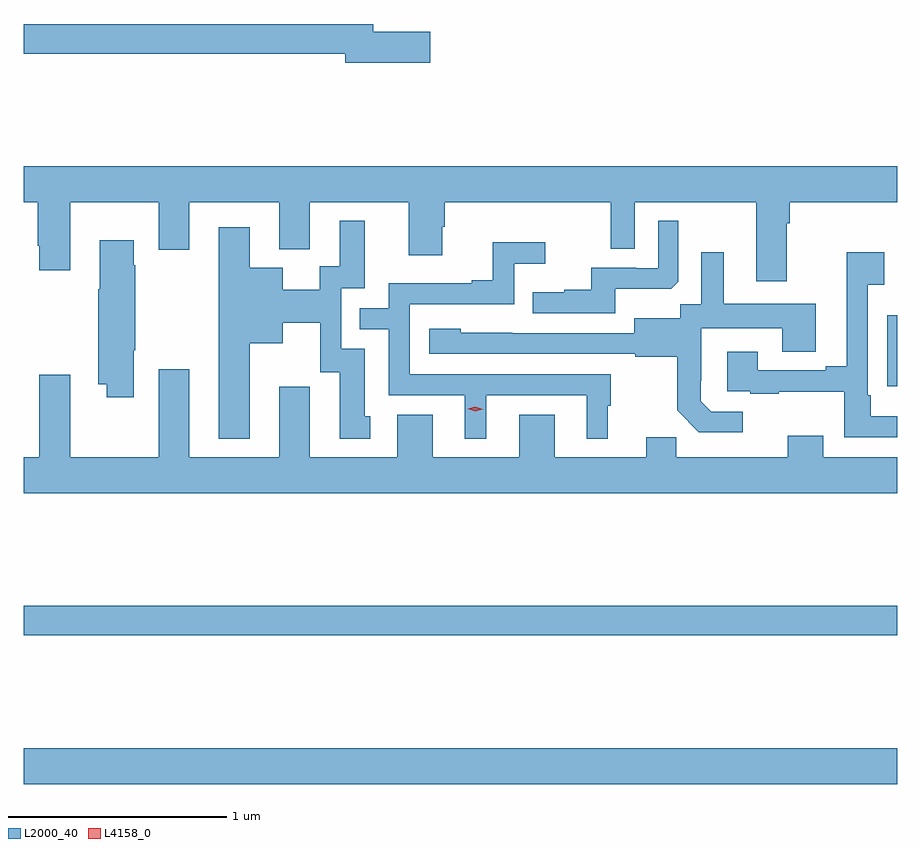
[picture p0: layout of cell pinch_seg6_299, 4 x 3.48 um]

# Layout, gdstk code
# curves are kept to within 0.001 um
import gdstk
lib = gdstk.Library(unit=1e-6, precision=1e-09)
def R(c, l, rs):  # rectangles x0, y0, x1, y1
    for r in rs: c.add(gdstk.rectangle(r[:2], r[2:], *l))
def P(c, l, *ps):  # polygons
    for p in ps: c.add(gdstk.Polygon(p, *l))
L2000_40 = (2000, 40)
L4158_0 = (4158, 0)

pinch_seg6_299 = lib.new_cell('pinch_seg6_299')
R(pinch_seg6_299, L2000_40, [(672.473,955.328,676.473,955.492), (672.473,956.008,676.473,956.144), (676.428,957.149,676.473,957.475)])
P(pinch_seg6_299, L2000_40, [(674.335,958.772),(674.074,958.772),(674.074,958.808),(672.473,958.808),(672.473,958.672),(673.946,958.672),(673.946,958.63),(674.335,958.63)],
  [(672.473,957.992),(672.538,957.992),(672.538,957.793),(672.545,957.793),(672.545,957.681),(672.685,957.681),(672.685,957.992),(673.091,957.992),(673.091,957.774),(673.231,957.774),(673.231,957.992),(673.643,957.992),(673.643,957.776),(673.783,957.776),(673.783,957.992),(674.237,957.992),(674.237,957.75),(674.389,957.75),(674.389,957.879),(674.402,957.879),(674.402,957.992),(675.162,957.992),(675.162,957.778),(675.27,957.778),(675.27,957.992),(675.827,957.992),(675.827,957.63),(675.967,957.63),(675.967,957.896),(675.98,957.896),(675.98,957.992),(676.473,957.992),(676.473,958.156),(672.473,958.156)],
  [(673.507,957.347),(673.66,957.347),(673.66,957.44),(673.83,957.44),(673.83,957.213),(673.919,957.213),(673.919,956.91),(674.059,956.91),(674.059,957.012),(674.035,957.012),(674.035,957.321),(673.926,957.321),(673.926,957.597),(674.035,957.597),(674.035,957.907),(673.919,957.907),(673.919,957.698),(673.829,957.698),(673.829,957.592),(673.66,957.592),(673.66,957.691),(673.507,957.691),(673.507,957.877),(673.367,957.877),(673.367,956.909),(673.507,956.909)],
  [(675.181,957.596),(675.439,957.596),(675.471,957.627),(675.471,957.907),(675.378,957.907),(675.378,957.69),(675.278,957.69),(675.278,957.693),(675.071,957.693),(675.071,957.592),(674.947,957.592),(674.947,957.58),(674.803,957.58),(674.803,957.483),(675.181,957.483)],
  [(672.976,957.313),(672.984,957.313),(672.984,957.704),(672.976,957.704),(672.976,957.817),(672.821,957.817),(672.821,957.593),(672.814,957.593),(672.814,957.158),(672.854,957.158),(672.854,957.099),(672.976,957.099)],
  [(674.59,957.108),(675.05,957.108),(675.05,956.909),(675.148,956.909),(675.148,957.06),(675.16,957.06),(675.16,957.204),(674.241,957.204),(674.241,957.525),(674.718,957.525),(674.718,957.71),(674.86,957.71),(674.86,957.809),(674.62,957.809),(674.62,957.634),(674.525,957.634),(674.525,957.621),(674.145,957.621),(674.145,957.507),(674.011,957.507),(674.011,957.411),(674.145,957.411),(674.145,957.108),(674.492,957.108),(674.492,956.909),(674.59,956.909)],
  [(676.473,957.013),(676.351,957.013),(676.351,957.109),(676.338,957.109),(676.338,957.614),(676.414,957.614),(676.414,957.763),(676.241,957.763),(676.241,957.241),(676.145,957.241),(676.145,957.222),(675.835,957.222),(675.835,957.307),(675.695,957.307),(675.695,957.126),(675.799,957.126),(675.799,957.114),(675.931,957.114),(675.931,957.125),(676.23,957.125),(676.23,956.916),(676.473,956.916)],
  [(675.766,957.033),(675.621,957.033),(675.574,957.08),(675.574,957.175),(675.576,957.175),(675.576,957.416),(675.947,957.416),(675.947,957.307),(676.099,957.307),(676.099,957.526),(675.679,957.526),(675.679,957.763),(675.575,957.763),(675.575,957.524),(675.48,957.524),(675.48,957.46),(675.269,957.46),(675.269,957.393),(674.475,957.394),(674.475,957.412),(674.331,957.412),(674.331,957.297),(675.273,957.297),(675.273,957.285),(675.465,957.285),(675.465,957.039),(675.565,956.939),(675.766,956.939)],
  [(676.473,956.824),(676.135,956.824),(676.135,956.923),(675.971,956.923),(675.971,956.824),(675.461,956.824),(675.461,956.915),(675.323,956.915),(675.323,956.824),(674.905,956.824),(674.905,957.019),(674.741,957.019),(674.741,956.824),(674.347,956.824),(674.347,957.019),(674.183,957.019),(674.183,956.824),(673.783,956.824),(673.783,957.148),(673.643,957.148),(673.643,956.824),(673.231,956.824),(673.231,957.226),(673.091,957.226),(673.091,956.824),(672.685,956.824),(672.685,957.202),(672.545,957.202),(672.545,956.824),(672.473,956.824),(672.473,956.66),(676.473,956.66)])
P(pinch_seg6_299, L4158_0, [(674.541,957.035),(674.506,957.046),(674.505,957.046),(674.506,957.046),(674.541,957.055),(674.576,957.045),(674.577,957.045),(674.576,957.044)])

lib.write_gds('pinch_seg6_299.gds')
